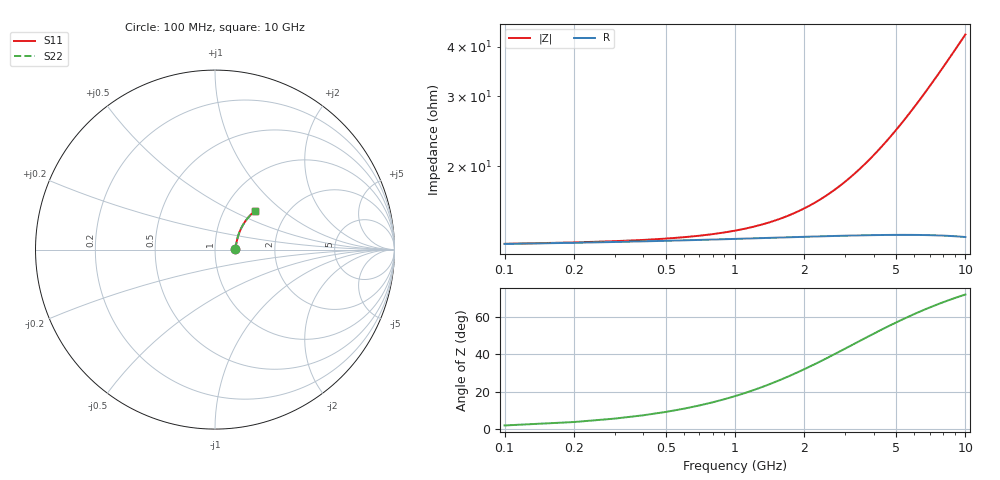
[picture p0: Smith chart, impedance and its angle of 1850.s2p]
# Hz S RI R 50.00
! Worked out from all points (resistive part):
!   100 points, 100 MHz to 10 GHz, reference 50 ohm
!   read as one part in series: R = 12.8 ohm at 100 MHz
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1e8  0.1131 0.00258  0.8869 -0.00395  0.8869 -0.00395  0.1131 0.00258
7e8  0.1161 0.0179  0.8839 -0.0275  0.8839 -0.0275  0.1161 0.0179
1e9  0.1173 0.0255  0.8826 -0.0392  0.8826 -0.0392  0.1173 0.0255
1.2e9  0.1181 0.0306  0.8817 -0.047  0.8817 -0.047  0.1181 0.0306
1.4e9  0.119 0.0356  0.8808 -0.0548  0.8808 -0.0548  0.119 0.0356
1.8e9  0.121 0.0456  0.8787 -0.0702  0.8787 -0.0702  0.121 0.0456
2.1e9  0.1226 0.0531  0.8769 -0.0818  0.8769 -0.0818  0.1226 0.0531
2.5e9  0.1251 0.0629  0.8743 -0.0971  0.8743 -0.0971  0.1251 0.0629
2.9e9  0.1278 0.0727  0.8713 -0.1124  0.8713 -0.1124  0.1278 0.0727
3.4e9  0.1317 0.0847  0.8671 -0.1312  0.8671 -0.1312  0.1317 0.0847
4.4e9  0.1408 0.108  0.8572 -0.1683  0.8572 -0.1683  0.1408 0.108
5.1e9  0.1484 0.1237  0.849 -0.1936  0.849 -0.1936  0.1484 0.1237
5.5e9  0.153 0.1325  0.8439 -0.2078  0.8439 -0.2078  0.153 0.1325
5.9e9  0.158 0.141  0.8385 -0.2219  0.8385 -0.2219  0.158 0.141
6.3e9  0.1632 0.1493  0.8328 -0.2357  0.8328 -0.2357  0.1632 0.1493
6.7e9  0.1687 0.1574  0.8268 -0.2493  0.8268 -0.2493  0.1687 0.1574
7.1e9  0.1745 0.1653  0.8205 -0.2627  0.8205 -0.2627  0.1745 0.1653
7.5e9  0.1804 0.173  0.8139 -0.2758  0.8139 -0.2758  0.1804 0.173
7.9e9  0.1866 0.1804  0.8071 -0.2888  0.8071 -0.2888  0.1866 0.1804
8.4e9  0.1947 0.1893  0.7982 -0.3046  0.7982 -0.3046  0.1947 0.1893
9.2e9  0.2082 0.2026  0.7833 -0.329  0.7833 -0.329  0.2082 0.2026
1e10  0.2224 0.215  0.7675 -0.3524  0.7675 -0.3524  0.2224 0.215
